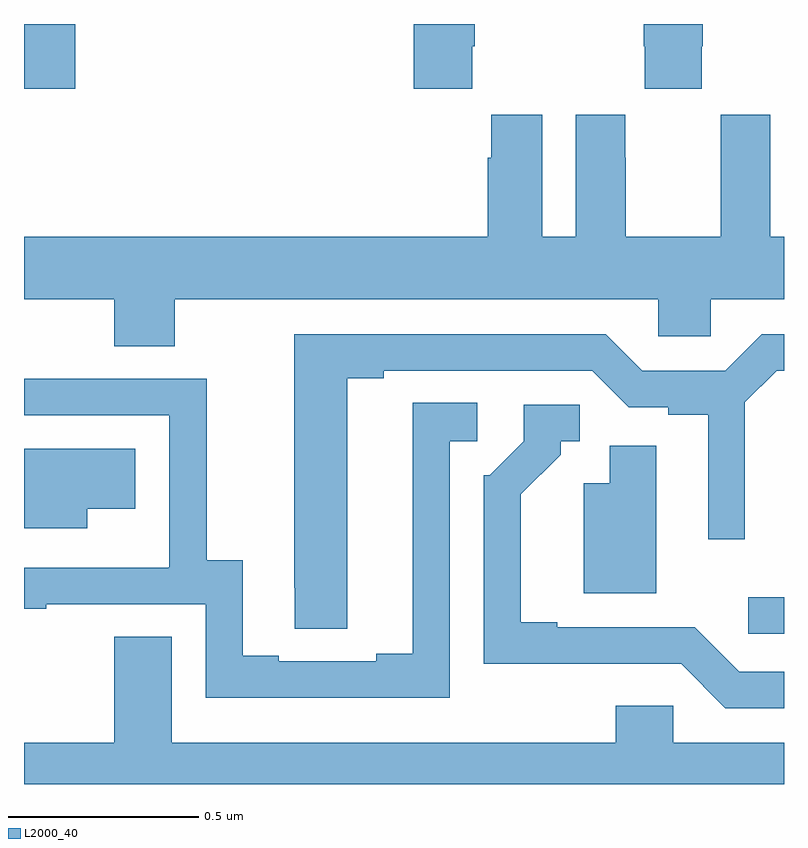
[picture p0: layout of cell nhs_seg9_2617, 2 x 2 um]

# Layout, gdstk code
import gdstk
lib = gdstk.Library(unit=1e-6, precision=1e-09)
def R(c, l, rs):  # rectangles x0, y0, x1, y1
    for r in rs: c.add(gdstk.rectangle(r[:2], r[2:], *l))
def P(c, l, *ps):  # polygons
    for p in ps: c.add(gdstk.Polygon(p, *l))
L2000_40 = (2000, 40)

nhs_seg9_2617 = lib.new_cell('nhs_seg9_2617')
R(nhs_seg9_2617, L2000_40, [(144.906,1172.895,145,1172.992), (143,1174.329,143.135,1174.5)])
P(nhs_seg9_2617, L2000_40, [(144.783,1174.441),(144.786,1174.441),(144.786,1174.5),(144.631,1174.5),(144.631,1174.441),(144.633,1174.441),(144.633,1174.329),(144.783,1174.329)],
  [(144.179,1174.441),(144.186,1174.441),(144.186,1174.5),(144.026,1174.5),(144.026,1174.329),(144.179,1174.329)],
  [(143.397,1173.776),(144.669,1173.776),(144.669,1173.678),(144.807,1173.678),(144.807,1173.776),(145,1173.776),(145,1173.94),(144.964,1173.94),(144.964,1174.261),(144.834,1174.261),(144.834,1174.148),(144.833,1174.148),(144.833,1173.94),(144.583,1173.94),(144.583,1174.148),(144.582,1174.148),(144.582,1174.261),(144.452,1174.261),(144.452,1173.94),(144.364,1173.94),(144.364,1174.261),(144.23,1174.261),(144.23,1174.148),(144.221,1174.148),(144.221,1173.94),(143,1173.94),(143,1173.776),(143.237,1173.776),(143.237,1173.652),(143.397,1173.652)],
  [(143.851,1173.568),(143.947,1173.568),(143.947,1173.588),(144.495,1173.588),(144.591,1173.492),(144.696,1173.492),(144.696,1173.472),(144.8,1173.472),(144.8,1173.144),(144.897,1173.144),(144.897,1173.504),(144.981,1173.588),(145,1173.588),(145,1173.684),(144.941,1173.684),(144.845,1173.588),(144.627,1173.588),(144.531,1173.684),(143.711,1173.684),(143.711,1173.016),(143.712,1173.016),(143.712,1172.908),(143.851,1172.908)],
  [(144.12,1173.402),(144.193,1173.402),(144.193,1173.503),(144.023,1173.503),(144.023,1172.843),(143.927,1172.843),(143.927,1172.823),(143.671,1172.823),(143.671,1172.838),(143.575,1172.838),(143.575,1173.089),(143.481,1173.089),(143.481,1173.567),(143,1173.567),(143,1173.471),(143.382,1173.471),(143.382,1173.07),(143.381,1173.07),(143.381,1173.069),(143,1173.069),(143,1172.961),(143.059,1172.961),(143.059,1172.973),(143.478,1172.973),(143.478,1172.727),(144.12,1172.727)],
  [(145,1172.796),(144.882,1172.796),(144.765,1172.913),(144.403,1172.913),(144.403,1172.926),(144.307,1172.926),(144.307,1173.262),(144.412,1173.367),(144.412,1173.402),(144.462,1173.402),(144.462,1173.498),(144.315,1173.498),(144.315,1173.402),(144.225,1173.312),(144.21,1173.312),(144.21,1172.816),(144.473,1172.816),(144.473,1172.817),(144.729,1172.817),(144.846,1172.7),(145,1172.7)],
  [(144.664,1173.39),(144.542,1173.39),(144.542,1173.292),(144.473,1173.292),(144.473,1173.002),(144.664,1173.002)],
  [(143.167,1173.224),(143.293,1173.224),(143.293,1173.382),(143,1173.382),(143,1173.173),(143.167,1173.173)],
  [(145,1172.608),(144.708,1172.608),(144.708,1172.706),(144.557,1172.706),(144.557,1172.608),(143.389,1172.608),(143.389,1172.888),(143.237,1172.888),(143.237,1172.608),(143,1172.608),(143,1172.5),(145,1172.5)])

lib.write_gds('nhs_seg9_2617.gds')
